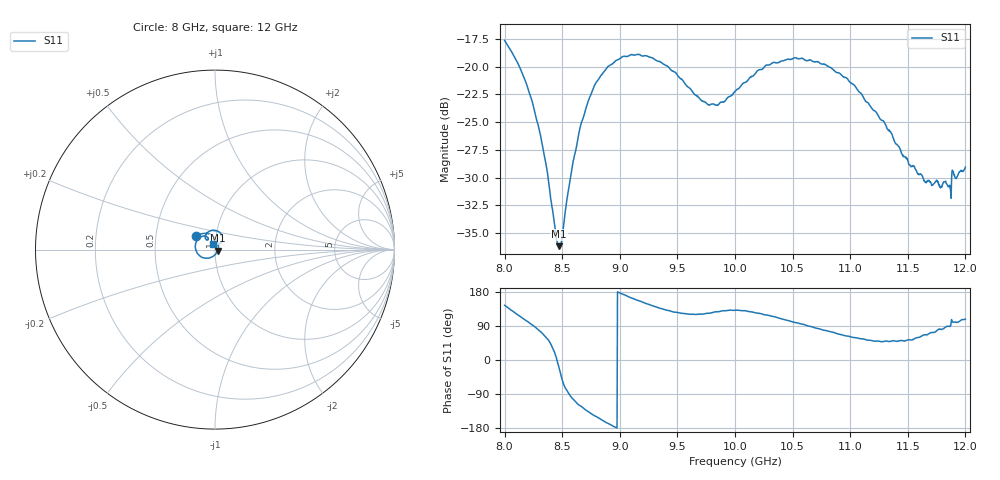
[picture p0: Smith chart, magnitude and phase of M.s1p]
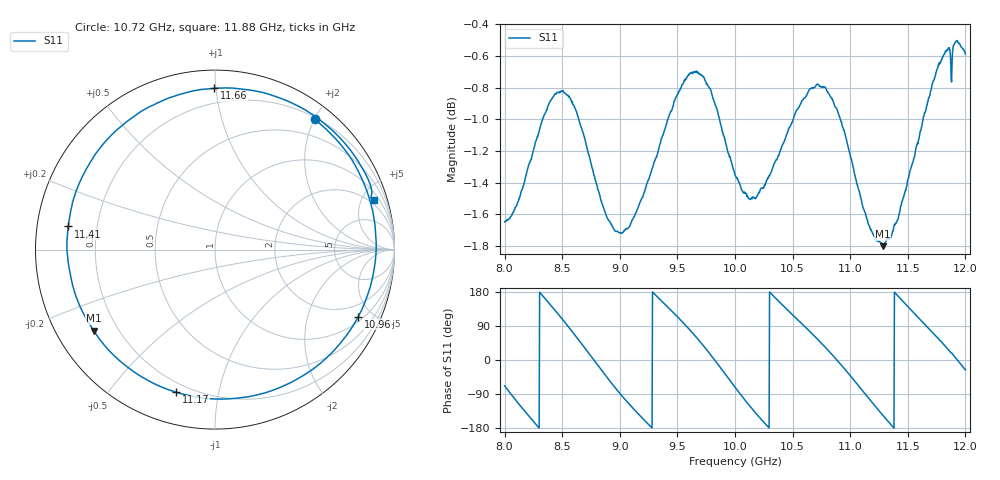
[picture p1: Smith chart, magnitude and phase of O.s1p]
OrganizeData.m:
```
clc; clear; close all

sz = [3, 3];
varTypes = ["double", "double", "sparameters"];
varNames = ["X position", "Y position", "S parameters"];
paramsTable = table('Size', sz,'VariableTypes', varTypes, 'VariableNames',varNames);

s1 = sparameters("M.s1p");
s2 = sparameters("O.s1p");
s3 = sparameters("S.s1p");

paramsTable(1,:) = {-1, 0, s1};
paramsTable(2,:) = {0,0,s2};
paramsTable(3,:) = {1,0,s3};


potato = organizeData(paramsTable);

saveVariable(potato)

function structy = organizeData(table)

sparams = table.("S parameters");
freq = sparams(1).Frequencies;
selectedFreqIndex = ceil(length(freq)/2);
centerFreq = freq(selectedFreqIndex);

check = true;
while check
a = input("What frequency do you want to analyze? (The default is the center at " + centerFreq/1e9 + " GHz): ");
if ~isempty(a)
    selectedFreqIndex = find_nearest_index(freq, a*1e9);
end

a = input("Confirm; will frequency " + freq(selectedFreqIndex)/1e9 + " GHz work? (y/n): ", "s");
if strcmp(a, "y")
    check = false;
end

end

sdata = zeros(length(sparams), 1);
for i = 1:length(sparams)
    sparam = rfparam(sparams(i), 1, 1);
    sdata(i) = sparam(selectedFreqIndex);
end

structy = struct('x', table.("X position"), 'y', table.("Y position"), 's', sdata, 'frequency', freq(selectedFreqIndex));

end


function index = find_nearest_index(x, num)
[~,index] = min(abs(x-num));
end

function saveVariable(var)
a = input("What do you want to name the .mat file?: ", "s");

name = a + ".mat";
save(name, "var")
end
```
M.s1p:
!Keysight Technologies,N5224A,MY56042273,A.10.60.03
!Date: Wednesday, June 05, 2024 12:13:09
!Correction: S11(Full 1 Port(1))
!S1P File: Measurement: S11:
# Hz S  RI  R 50
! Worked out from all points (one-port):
!   1001 points, 8 GHz to 12 GHz, reference 50 ohm
!   lowest |S11| = -36.2 dB at 8.472 GHz (marker M1), VSWR 1.03, Z = 51.5 - j0.56 ohm
!   |S11| at or under -10 dB: start of sweep to end of sweep
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8e9  -0.1065 0.0766
8.244e9  -0.00224 0.0682
8.472e9  0.0146 -0.00544
8.652e9  -0.0263 -0.0451
8.788e9  -0.0711 -0.0443
9.024e9  -0.1103 0.0121
9.336e9  -0.0782 0.0712
9.836e9  -0.0407 0.0533
1.0276e10  -0.0489 0.0891
1.0668e10  0.00415 0.106
1.1036e10  0.0422 0.0709
1.1652e10  0.0121 0.0275
1.1856e10  0.000417 0.0287
1.2e10  -0.0108 0.0336
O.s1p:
!Keysight Technologies,N5224A,MY56042273,A.10.60.03
!Date: Wednesday, June 05, 2024 12:08:26
!Correction: S11(Full 1 Port(1))
!S1P File: Measurement: S11:
# Hz S  RI  R 50
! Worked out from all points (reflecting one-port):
!   1001 points, 8 GHz to 12 GHz, reference 50 ohm
!   lowest |S11| = -1.8 dB at 11.28 GHz (marker M1), VSWR 9.68, Z = 5.64 - j15 ohm
!   phase of S11 starts at -68 deg and turns -1398 deg over the sweep
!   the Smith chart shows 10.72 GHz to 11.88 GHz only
!   S11 on the Smith chart (normalised r, x): 10.72 GHz: 0.23, +2.00; 10.96 GHz: 1.24, -4.15; 11.17 GHz: 0.15, -0.75; 11.41 GHz: 0.09, +0.08; 11.66 GHz: 0.11, +0.99; 11.88 GHz: 1.53, +6.13
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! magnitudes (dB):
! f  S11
! 8 GHz  -1.6
! 8.472 GHz  -0.8
! 8.972 GHz  -1.7
! 9.336 GHz  -1.2
! 10.17 GHz  -1.5
! 10.67 GHz  -0.8
! 10.72 GHz  -0.8
! 10.96 GHz  -1.1
! 11.17 GHz  -1.7
! 11.28 GHz  -1.8
! 11.41 GHz  -1.6
! 11.66 GHz  -0.9
! 11.88 GHz  -0.7
! 12 GHz  -0.6
